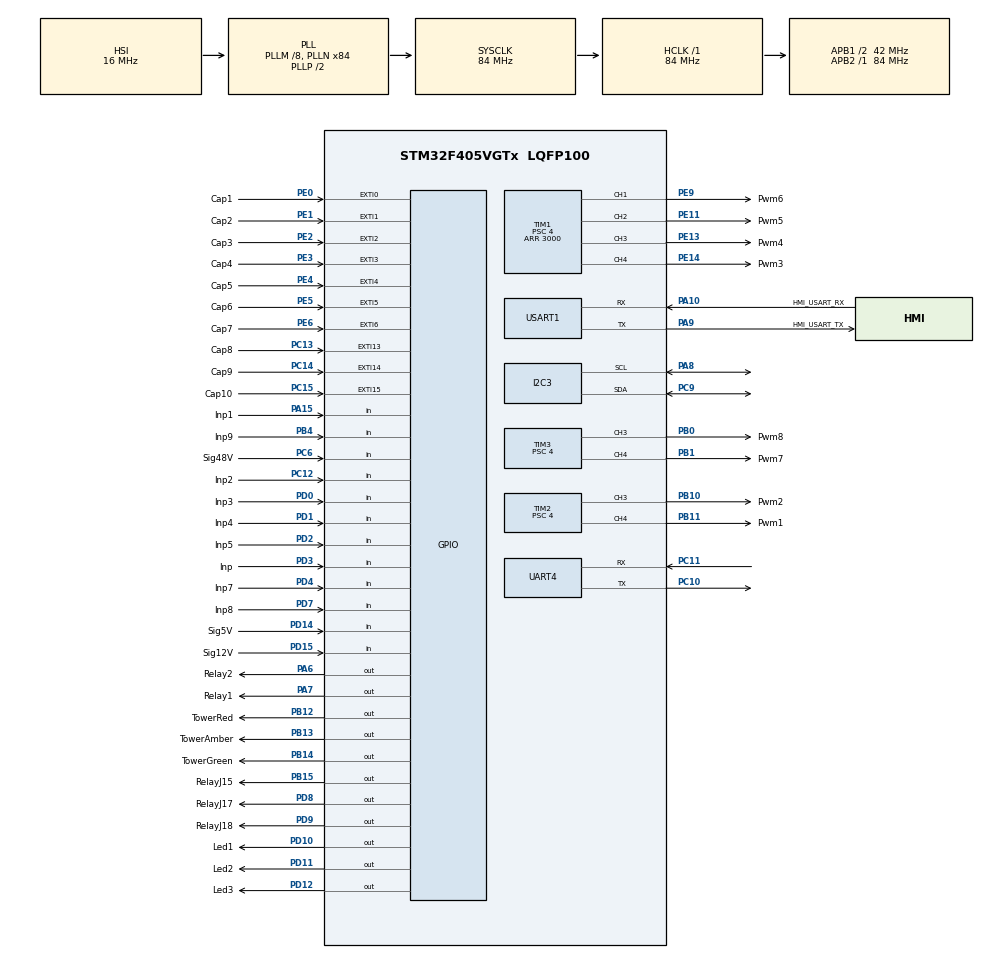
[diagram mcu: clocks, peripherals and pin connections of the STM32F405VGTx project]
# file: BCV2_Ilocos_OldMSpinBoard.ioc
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Mcu.Family=STM32F4
Mcu.Name=STM32F405VGTx
Mcu.Package=LQFP100
NVIC.EXTI0_IRQn=true\:0\:0\:false\:false\:true\:true\:true\:true
NVIC.EXTI15_10_IRQn=true\:0\:0\:false\:false\:true\:true\:true\:true
NVIC.EXTI1_IRQn=true\:0\:0\:false\:false\:true\:true\:true\:true
NVIC.EXTI2_IRQn=true\:0\:0\:false\:false\:true\:true\:true\:true
NVIC.EXTI3_IRQn=true\:0\:0\:false\:false\:true\:true\:true\:true
NVIC.EXTI4_IRQn=true\:0\:0\:false\:false\:true\:true\:true\:true
NVIC.EXTI9_5_IRQn=true\:0\:0\:false\:false\:true\:true\:true\:true
NVIC.PriorityGroup=NVIC_PRIORITYGROUP_4
NVIC.TIM6_DAC_IRQn=true\:0\:0\:false\:false\:true\:true\:true\:true
NVIC.TIM7_IRQn=true\:0\:0\:false\:false\:true\:true\:true\:true
NVIC.UART4_IRQn=true\:0\:0\:false\:false\:true\:true\:true\:true
NVIC.USART1_IRQn=true\:0\:0\:false\:false\:true\:true\:true\:true
PA10.GPIO_Label=HMI_USART_RX
PA10.Mode=Asynchronous
PA10.Signal=USART1_RX
PA15.GPIO_Label=Inp1
PA15.Signal=GPIO_Input
PA6.GPIO_Label=Relay2
PA6.Signal=GPIO_Output
PA7.GPIO_Label=Relay1
PA7.Signal=GPIO_Output
PA8.GPIO_Pu=GPIO_PULLUP
PA8.Mode=I2C
PA8.Signal=I2C3_SCL
PA9.GPIO_Label=HMI_USART_TX
PA9.Mode=Asynchronous
PA9.Signal=USART1_TX
PB0.GPIO_Label=Pwm8
PB0.Signal=S_TIM3_CH3
PB1.GPIO_Label=Pwm7
PB1.Signal=S_TIM3_CH4
PB10.GPIO_Label=Pwm2
PB10.Signal=S_TIM2_CH3
PB11.GPIO_Label=Pwm1
PB11.Signal=S_TIM2_CH4
PB12.GPIO_Label=TowerRed
PB12.Signal=GPIO_Output
PB13.GPIO_Label=TowerAmber
PB13.Signal=GPIO_Output
PB14.GPIO_Label=TowerGreen
PB14.Signal=GPIO_Output
PB15.GPIO_Label=RelayJ15
PB15.Signal=GPIO_Output
PB4.GPIO_Label=Inp9
PB4.Signal=GPIO_Input
PC10.Mode=Asynchronous
PC10.Signal=UART4_TX
PC11.Mode=Asynchronous
PC11.Signal=UART4_RX
PC12.GPIO_Label=Inp2
PC12.GPIO_PuPd=GPIO_PULLUP
PC12.Signal=GPIO_Input
PC13-ANTI_TAMP.GPIO_Label=Cap8
PC13-ANTI_TAMP.GPIO_ModeDefaultEXTI=GPIO_MODE_IT_RISING_FALLING
PC13-ANTI_TAMP.GPIO_PuPd=GPIO_PULLUP
PC13-ANTI_TAMP.Signal=GPXTI13
PC14-OSC32_IN.GPIO_Label=Cap9
PC14-OSC32_IN.GPIO_ModeDefaultEXTI=GPIO_MODE_IT_RISING_FALLING
PC14-OSC32_IN.GPIO_PuPd=GPIO_PULLUP
PC14-OSC32_IN.Signal=GPXTI14
PC15-OSC32_OUT.GPIO_Label=Cap10
PC15-OSC32_OUT.GPIO_ModeDefaultEXTI=GPIO_MODE_IT_RISING_FALLING
PC15-OSC32_OUT.GPIO_PuPd=GPIO_PULLUP
PC15-OSC32_OUT.Signal=GPXTI15
PC6.GPIO_Label=Sig48V
PC6.Signal=GPIO_Input
PC9.GPIO_Pu=GPIO_PULLUP
PC9.Mode=I2C
PC9.Signal=I2C3_SDA
PD0.GPIO_Label=Inp3
PD0.Signal=GPIO_Input
PD1.GPIO_Label=Inp4
PD1.Signal=GPIO_Input
PD10.GPIO_Label=Led1
PD10.Signal=GPIO_Output
PD11.GPIO_Label=Led2
PD11.Signal=GPIO_Output
PD12.GPIO_Label=Led3
PD12.Signal=GPIO_Output
PD14.GPIO_Label=Sig5V
PD14.Signal=GPIO_Input
PD15.GPIO_Label=Sig12V
PD15.Signal=GPIO_Input
PD2.GPIO_Label=Inp5
PD2.Signal=GPIO_Input
PD3.GPIO_Label=Inp
PD3.Signal=GPIO_Input
PD4.GPIO_Label=Inp7
PD4.Signal=GPIO_Input
PD7.GPIO_Label=Inp8
PD7.Signal=GPIO_Input
PD8.GPIO_Label=RelayJ17
PD8.Signal=GPIO_Output
PD9.GPIO_Label=RelayJ18
PD9.Signal=GPIO_Output
PE0.GPIO_Label=Cap1
PE0.GPIO_ModeDefaultEXTI=GPIO_MODE_IT_RISING_FALLING
PE0.GPIO_PuPd=GPIO_PULLUP
PE0.Signal=GPXTI0
PE1.GPIO_Label=Cap2
PE1.GPIO_ModeDefaultEXTI=GPIO_MODE_IT_RISING_FALLING
PE1.GPIO_PuPd=GPIO_PULLUP
PE1.Signal=GPXTI1
PE11.GPIO_Label=Pwm5
PE11.Signal=S_TIM1_CH2
PE13.GPIO_Label=Pwm4
PE13.Signal=S_TIM1_CH3
PE14.GPIO_Label=Pwm3
PE14.Signal=S_TIM1_CH4
PE2.GPIO_Label=Cap3
PE2.GPIO_ModeDefaultEXTI=GPIO_MODE_IT_RISING_FALLING
PE2.GPIO_PuPd=GPIO_PULLUP
PE2.Signal=GPXTI2
PE3.GPIO_Label=Cap4
PE3.GPIO_ModeDefaultEXTI=GPIO_MODE_IT_RISING_FALLING
PE3.GPIO_PuPd=GPIO_PULLUP
PE3.Signal=GPXTI3
PE4.GPIO_Label=Cap5
PE4.GPIO_ModeDefaultEXTI=GPIO_MODE_IT_RISING_FALLING
PE4.GPIO_PuPd=GPIO_PULLUP
PE4.Signal=GPXTI4
PE5.GPIO_Label=Cap6
PE5.GPIO_ModeDefaultEXTI=GPIO_MODE_IT_RISING_FALLING
PE5.GPIO_PuPd=GPIO_PULLUP
PE5.Signal=GPXTI5
PE6.GPIO_Label=Cap7
PE6.GPIO_ModeDefaultEXTI=GPIO_MODE_IT_RISING_FALLING
PE6.GPIO_PuPd=GPIO_PULLUP
PE6.Signal=GPXTI6
PE9.GPIO_Label=Pwm6
PE9.Signal=S_TIM1_CH1
ProjectManager.HeapSize=0x200
ProjectManager.StackSize=0x400
ProjectManager.TargetToolchain=STM32CubeIDE
RCC.48MHZClocksFreq_Value=42000000
RCC.AHBFreq_Value=84000000
RCC.APB1CLKDivider=RCC_HCLK_DIV2
RCC.APB1Freq_Value=42000000
RCC.APB1TimFreq_Value=84000000
RCC.APB2Freq_Value=84000000
RCC.APB2TimFreq_Value=84000000
RCC.CortexFreq_Value=84000000
RCC.HCLKFreq_Value=84000000
RCC.HSE_VALUE=25000000
RCC.HSI_VALUE=16000000
RCC.LSE_VALUE=32768
RCC.PLLM=8
RCC.PLLN=84
RCC.SYSCLKFreq_VALUE=84000000
RCC.SYSCLKSource=RCC_SYSCLKSOURCE_PLLCLK
RCC.VCOOutputFreq_Value=168000000
SH.S_TIM1_CH1.0=TIM1_CH1,PWM Generation1 CH1
SH.S_TIM1_CH2.0=TIM1_CH2,PWM Generation2 CH2
SH.S_TIM1_CH3.0=TIM1_CH3,PWM Generation3 CH3
SH.S_TIM1_CH4.0=TIM1_CH4,PWM Generation4 CH4
SH.S_TIM2_CH3.0=TIM2_CH3,PWM Generation3 CH3
SH.S_TIM2_CH4.0=TIM2_CH4,PWM Generation4 CH4
SH.S_TIM3_CH3.0=TIM3_CH3,PWM Generation3 CH3
SH.S_TIM3_CH4.0=TIM3_CH4,PWM Generation4 CH4
TIM1.Channel-PWM\ Generation1\ CH1=TIM_CHANNEL_1
TIM1.Channel-PWM\ Generation2\ CH2=TIM_CHANNEL_2
TIM1.Channel-PWM\ Generation3\ CH3=TIM_CHANNEL_3
TIM1.Channel-PWM\ Generation4\ CH4=TIM_CHANNEL_4
TIM1.OCPolarity_1=TIM_OCPOLARITY_HIGH
TIM1.OCPolarity_2=TIM_OCPOLARITY_HIGH
TIM1.OCPolarity_3=TIM_OCPOLARITY_HIGH
TIM1.OCPolarity_4=TIM_OCPOLARITY_HIGH
TIM1.Period=3000
TIM1.Prescaler=4
TIM2.Channel-PWM\ Generation3\ CH3=TIM_CHANNEL_3
TIM2.Channel-PWM\ Generation4\ CH4=TIM_CHANNEL_4
TIM2.OCPolarity_3=TIM_OCPOLARITY_HIGH
TIM2.OCPolarity_4=TIM_OCPOLARITY_HIGH
TIM2.Period=3000
TIM2.Prescaler=4
TIM3.Channel-PWM\ Generation3\ CH3=TIM_CHANNEL_3
TIM3.Channel-PWM\ Generation4\ CH4=TIM_CHANNEL_4
TIM3.OCPolarity_3=TIM_OCPOLARITY_HIGH
TIM3.OCPolarity_4=TIM_OCPOLARITY_HIGH
TIM3.Period=3000
TIM3.Prescaler=4
TIM6.Period=839
TIM6.Prescaler=9999
TIM7.Period=8400
TIM7.Prescaler=9999
UART4.VirtualMode=Asynchronous
USART1.VirtualMode=VM_ASYNC
VP_TIM6_VS_ClockSourceINT.Mode=Enable_Timer
VP_TIM7_VS_ClockSourceINT.Mode=Enable_Timer
board=BLOWCARD5-1

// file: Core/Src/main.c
/* USER CODE BEGIN Header */
/**
  ******************************************************************************
  * @file           : main.c
  * @brief          : Main program body
  ******************************************************************************
  * @attention
  *
  * Copyright (c) 2023 STMicroelectronics.
  * All rights reserved.
  *
  * This software is licensed under terms that can be found in the LICENSE file
  * in the root directory of this software component.
  * If no LICENSE file comes with this software, it is provided AS-IS.
  *
  ******************************************************************************
  */
/* USER CODE END Header */
#include "main.h"

/* USER CODE BEGIN Includes */
#include "Structs.h"
#include "Initialize.h"
#include "CommonConstants.h"
#include "HMI_Fns.h"
#include "HMI_Constants.h"
#include "StateFns.h"
#include "logicDefines.h"
#include "encoder.h"
#include "Initialize.h"
#include "functionDefines.h"
#include "eeprom.h"
#include "CommonConstants.h"
/* USER CODE END Includes */

I2C_HandleTypeDef hi2c3;

TIM_HandleTypeDef htim1;
TIM_HandleTypeDef htim2;
TIM_HandleTypeDef htim3;
TIM_HandleTypeDef htim6;
TIM_HandleTypeDef htim7;

UART_HandleTypeDef huart4;
UART_HandleTypeDef huart1;

/* USER CODE BEGIN PV */
/* Private variables ---------------------------------------------------------*/
struct State S;
struct Uart U;
struct CardingSettings csp;
struct Diagnostics D;
// HMI STRUCTS
struct HMI_InfoBase hsb;
struct HMI_RunPacket hrp;
struct HMI_StopPacket hsp;
struct HMI_DiagPacket hdp;
//LOGIC
struct Motor M[9];
struct Error E;

char BufferRec [MAX_PACKET_SIZE_FROM_HMI];//BUFFER  FOR RECEIVE
const char* startBufferRec = BufferRec; // Pointer to start of Buffer Rec
char BufferTransmit[130] ;// Buffer for Transmit

int keyPress = 0;
char MOTORARRAY[8] = {0,CARD_CYLINDER,CARD_BEATER,CARD_CAGE,CARD_COILER,CARD_FEED,CARD_BEATER_FEED,CARD_CONVEYOR};
char MOTORARRAY_HMI[8] = {0,HMI_CARD_CYLINDER,HMI_CARD_BEATER,HMI_CARD_CAGE,HMI_CARD_COILER,HMI_CARD_FEED,HMI_CARD_BEATER_FEED,HMI_CARD_CONVEYOR};

int allMotorsOn = 2; // 2 nothing on, 0 - card and beater on, 1 all motors on
int stopSecondaryMotor = 0;
int pushbuttonPress = 0;

int conveyorCounter = 0;
int delayCounter = 0;
int dwellCounter = 0;
int conveyorStart = 0;
int testPwmValue = 0;
// Overload counter
int overloadCount[9] = {0,0,0,0,0,0,0,0,0};

//logic variables for diag
extern unsigned int idxMotor_diag;
extern long diag_pwm;
extern int testMode;

unsigned int sensorBreakCount = 0;

extern int Cap1,Cap2,Cap3;
extern int Rpm1,Rpm2,Rpm3;
extern int filter1,filter2,filter3;

//production
float totalProduction  = 0.001f;
float totalProduction_dt = 0;
int production = 0;

//length limit
float currentLength  = 0;
float currentLength_corrected = 0;
float deliverySpeed_perSec = 0;
extern int sensorCut;
/* USER CODE END PV */

void SystemClock_Config(void);
static void MX_GPIO_Init(void);
static void MX_TIM1_Init(void);
static void MX_TIM2_Init(void);
static void MX_TIM3_Init(void);
static void MX_TIM6_Init(void);
static void MX_TIM7_Init(void);
static void MX_USART1_UART_Init(void);
static void MX_I2C3_Init(void);
static void MX_UART4_Init(void);

/* USER CODE BEGIN 0 */

void HAL_TIM_PeriodElapsedCallback(TIM_HandleTypeDef *htim)
{
	// A 1 sec TIMER
	if (htim->Instance==TIM7) //check if the interrupt comes from TIM7
	{
		LedToggle(LED3);
		U.TXtransfer = 1;
		S.oneSecTimer += 1;
		if ((S.current_state == RUN_STATE) && (S.runMode == HMI_RUN_NORMAL) && (sensorCut == 0)){
			   currentLength = currentLength + deliverySpeed_perSec;
			   currentLength_corrected = currentLength * csp.lengthCorrection;
		}
		if (lengthOver){
			S.lengthOverTimer += 1;
		}
	}

   if (htim->Instance==TIM6){
		LedToggle(LED1);
		if (testMode == 1){
			Motor(DISABLE_D);
			UpdateRpm();
			if (D.typeofTest == HMI_DIAG_CLOSED_LOOP){
				UpdateMotorPID(idxMotor_diag);
			}
			if (D.typeofTest == HMI_DIAG_OPEN_LOOP){
				UpdateMotorVoltage(idxMotor_diag,diag_pwm);
			}

			ApplyPwms();
		}

		UpdateRpm();

/*		if((allMotorsOn == 0) || (allMotorsOn ==1)){
			UpdateRpm();
//			ApplyPwms();
		}

		if(allMotorsOn == 2) {
			UpdateRpm();
		}*/

		CheckSteadyStateReached(MOTOR1);
		CheckSteadyStateReached(MOTOR2);
		CheckSteadyStateReached(MOTOR3);
		CheckSteadyStateReached(MOTOR4);
		CheckSteadyStateReached(MOTOR5);
		CheckSteadyStateReached(MOTOR6);
		CheckSteadyStateReached(MOTOR7);

		//allmotorOn == 0, only cyl and btr on, if 1 all motors on, if 2, nothing ON
		if (allMotorsOn == 0){
			UpdateMotorPID(MOTOR1);
			UpdateMotorPID(MOTOR2);
			ApplyPwms();
		}

		if (allMotorsOn == 1){
			LedToggle(LED2);
			UpdateMotorPID(MOTOR1);
			UpdateMotorPID(MOTOR2);

			if(S.runMode == HMI_RUN_NORMAL){
				UpdateMotorPID(MOTOR3);
				UpdateMotorPID(MOTOR4);
				UpdateMotorPID(MOTOR5);

				if (S.ductOn == 1){
					UpdateMotorPID(MOTOR6);
					UpdateMotorPID(MOTOR7);
				}
				else{
					KeepFeedMotorsOFF();
				}
			}else if (S.runMode == HMI_RUN_PIECING){
				UpdateMotorPiecing(MOTOR3);
				UpdateMotorPiecing(MOTOR4);
				UpdateMotorPiecing(MOTOR5);
				UpdateMotorPiecing(MOTOR6);
				UpdateMotorPiecing(MOTOR7);
			}else{
				//in rampup dont run anything
			}
			ApplyPwms();
	 }//closes allMotorsOn == 1
   } // closes tim6
}

/* USER CODE END 0 */

int main(void)
{

  /* MCU Configuration--------------------------------------------------------*/

  /* Reset of all peripherals, Initializes the Flash interface and the Systick. */
  HAL_Init();

  /* Configure the system clock */
  SystemClock_Config();

  /* Initialize all configured peripherals */
  MX_GPIO_Init();
  MX_TIM1_Init();
  MX_TIM2_Init();
  MX_TIM3_Init();
  MX_TIM6_Init();
  MX_TIM7_Init();
  MX_USART1_UART_Init();
  MX_I2C3_Init();
  MX_UART4_Init();
  /* USER CODE BEGIN 2 */
	InitializeStateStruct(); // sets state to idle and paired =0
	InitializeCardingSettings();
	ReadSettingsFromEeprom(); //UpdateCardingSettings from EEPROM
	ReadCurrentLengthFromEeprom(); //Length limit from eeprom
	deliverySpeed_perSec = ((float)(csp.deliverySpeed)/60.0);
	currentLength_corrected = currentLength * csp.lengthCorrection; // update the length with whatever correction factor is there

	//Initialize the HMI Structs
	Create_HMI_BasePacket();
	Create_HMI_Run_Packet();
	Create_HMI_StopPacket();
	Create_HMI_DiagPacket();

	//Init the Motor Struct
	MotorStructInit();

	//Interrupts on HMI UART- UART1
	__HAL_UART_ENABLE_IT(&huart1,UART_IT_IDLE);//interrupt on receive buffer not empty(buffer full)
	__HAL_UART_ENABLE_IT(&huart1,UART_IT_TC );//interrupt on Transmission Complete

	HAL_UART_Receive_IT(&huart1,(uint8_t *)BufferRec,MAX_PACKET_SIZE_FROM_HMI);	 // start the receive here.

	//Interrupts on RPI UART-UART4
	__HAL_UART_ENABLE_IT(&huart4,UART_IT_TC );//interrupt on Transmission Complete for RPI uart

	HAL_TIM_Base_Start_IT(&htim6); // MAIN TIMER FOR MOTOR CONTROL PWM - 100ms. Need to switch this on or we cant check if cyl/btr running in idle mode.
	// Switch on all the timers for the PWM , and set them low immediately
	AllTimerOn();
	//AllSignalVoltageLow();

	//Switch off all tower lamps
	TowerLamp(GREEN_ON);
	TowerLamp(RED_ON);
	TowerLamp(AMBER_OFF);
	HAL_TIM_Base_Start_IT(&htim7);

  /* USER CODE END 2 */

  /* Infinite loop */
  /* USER CODE BEGIN WHILE */
  while (1){
	if (S.current_state == IDLE_STATE){
		IdleState();
	}

	if (S.current_state == RUN_STATE){
		RunState();
	}

	if (S.current_state == HALT_STATE){
		HaltState();
	}

	if (S.current_state == PAUSE_STATE){
		PauseState();
	}

	if (S.current_state == UPDATESETTINGS){
		SettingsState();
	}

	if (S.current_state == DIAGNOSTIC_STATE){
		DiagnosticsState();
	}

    /* USER CODE END WHILE */

  }
}

void SystemClock_Config(void)
{
  RCC_OscInitTypeDef RCC_OscInitStruct = {0};
  RCC_ClkInitTypeDef RCC_ClkInitStruct = {0};

  /** Configure the main internal regulator output voltage
  */
  __HAL_RCC_PWR_CLK_ENABLE();
  __HAL_PWR_VOLTAGESCALING_CONFIG(PWR_REGULATOR_VOLTAGE_SCALE1);

  /** Initializes the RCC Oscillators according to the specified parameters
  * in the RCC_OscInitTypeDef structure.
  */
  RCC_OscInitStruct.OscillatorType = RCC_OSCILLATORTYPE_HSI;
  RCC_OscInitStruct.HSIState = RCC_HSI_ON;
  RCC_OscInitStruct.HSICalibrationValue = RCC_HSICALIBRATION_DEFAULT;
  RCC_OscInitStruct.PLL.PLLState = RCC_PLL_ON;
  RCC_OscInitStruct.PLL.PLLSource = RCC_PLLSOURCE_HSI;
  RCC_OscInitStruct.PLL.PLLM = 8;
  RCC_OscInitStruct.PLL.PLLN = 84;
  RCC_OscInitStruct.PLL.PLLP = RCC_PLLP_DIV2;
  RCC_OscInitStruct.PLL.PLLQ = 4;
  if (HAL_RCC_OscConfig(&RCC_OscInitStruct) != HAL_OK)
  {
    Error_Handler();
  }

  /** Initializes the CPU, AHB and APB buses clocks
  */
  RCC_ClkInitStruct.ClockType = RCC_CLOCKTYPE_HCLK|RCC_CLOCKTYPE_SYSCLK
                              |RCC_CLOCKTYPE_PCLK1|RCC_CLOCKTYPE_PCLK2;
  RCC_ClkInitStruct.SYSCLKSource = RCC_SYSCLKSOURCE_PLLCLK;
  RCC_ClkInitStruct.AHBCLKDivider = RCC_SYSCLK_DIV1;
  RCC_ClkInitStruct.APB1CLKDivider = RCC_HCLK_DIV2;
  RCC_ClkInitStruct.APB2CLKDivider = RCC_HCLK_DIV1;

  if (HAL_RCC_ClockConfig(&RCC_ClkInitStruct, FLASH_LATENCY_2) != HAL_OK)
  {
    Error_Handler();
  }
}

static void MX_I2C3_Init(void)
{

  hi2c3.Instance = I2C3;
  hi2c3.Init.ClockSpeed = 100000;
  hi2c3.Init.DutyCycle = I2C_DUTYCYCLE_2;
  hi2c3.Init.OwnAddress1 = 0;
  hi2c3.Init.AddressingMode = I2C_ADDRESSINGMODE_7BIT;
  hi2c3.Init.DualAddressMode = I2C_DUALADDRESS_DISABLE;
  hi2c3.Init.OwnAddress2 = 0;
  hi2c3.Init.GeneralCallMode = I2C_GENERALCALL_DISABLE;
  hi2c3.Init.NoStretchMode = I2C_NOSTRETCH_DISABLE;
  if (HAL_I2C_Init(&hi2c3) != HAL_OK)
  {
    Error_Handler();
  }

}

static void MX_TIM1_Init(void)
{

  TIM_MasterConfigTypeDef sMasterConfig = {0};
  TIM_OC_InitTypeDef sConfigOC = {0};
  TIM_BreakDeadTimeConfigTypeDef sBreakDeadTimeConfig = {0};

  htim1.Instance = TIM1;
  htim1.Init.Prescaler = 4;
  htim1.Init.CounterMode = TIM_COUNTERMODE_UP;
  htim1.Init.Period = 3000;
  htim1.Init.ClockDivision = TIM_CLOCKDIVISION_DIV1;
  htim1.Init.RepetitionCounter = 0;
  htim1.Init.AutoReloadPreload = TIM_AUTORELOAD_PRELOAD_DISABLE;
  if (HAL_TIM_PWM_Init(&htim1) != HAL_OK)
  {
    Error_Handler();
  }
  sMasterConfig.MasterOutputTrigger = TIM_TRGO_RESET;
  sMasterConfig.MasterSlaveMode = TIM_MASTERSLAVEMODE_DISABLE;
  if (HAL_TIMEx_MasterConfigSynchronization(&htim1, &sMasterConfig) != HAL_OK)
  {
    Error_Handler();
  }
  sConfigOC.OCMode = TIM_OCMODE_PWM1;
  sConfigOC.Pulse = 0;
  sConfigOC.OCPolarity = TIM_OCPOLARITY_HIGH;
  sConfigOC.OCNPolarity = TIM_OCNPOLARITY_HIGH;
  sConfigOC.OCFastMode = TIM_OCFAST_DISABLE;
  sConfigOC.OCIdleState = TIM_OCIDLESTATE_RESET;
  sConfigOC.OCNIdleState = TIM_OCNIDLESTATE_RESET;
  if (HAL_TIM_PWM_ConfigChannel(&htim1, &sConfigOC, TIM_CHANNEL_1) != HAL_OK)
  {
    Error_Handler();
  }
  if (HAL_TIM_PWM_ConfigChannel(&htim1, &sConfigOC, TIM_CHANNEL_2) != HAL_OK)
  {
    Error_Handler();
  }
  if (HAL_TIM_PWM_ConfigChannel(&htim1, &sConfigOC, TIM_CHANNEL_3) != HAL_OK)
  {
    Error_Handler();
  }
  if (HAL_TIM_PWM_ConfigChannel(&htim1, &sConfigOC, TIM_CHANNEL_4) != HAL_OK)
  {
    Error_Handler();
  }
  sBreakDeadTimeConfig.OffStateRunMode = TIM_OSSR_DISABLE;
  sBreakDeadTimeConfig.OffStateIDLEMode = TIM_OSSI_DISABLE;
  sBreakDeadTimeConfig.LockLevel = TIM_LOCKLEVEL_OFF;
  sBreakDeadTimeConfig.DeadTime = 0;
  sBreakDeadTimeConfig.BreakState = TIM_BREAK_DISABLE;
  sBreakDeadTimeConfig.BreakPolarity = TIM_BREAKPOLARITY_HIGH;
  sBreakDeadTimeConfig.AutomaticOutput = TIM_AUTOMATICOUTPUT_DISABLE;
  if (HAL_TIMEx_ConfigBreakDeadTime(&htim1, &sBreakDeadTimeConfig) != HAL_OK)
  {
    Error_Handler();
  }
  HAL_TIM_MspPostInit(&htim1);

}

static void MX_TIM2_Init(void)
{

  TIM_MasterConfigTypeDef sMasterConfig = {0};
  TIM_OC_InitTypeDef sConfigOC = {0};

  htim2.Instance = TIM2;
  htim2.Init.Prescaler = 4;
  htim2.Init.CounterMode = TIM_COUNTERMODE_UP;
  htim2.Init.Period = 3000;
  htim2.Init.ClockDivision = TIM_CLOCKDIVISION_DIV1;
  htim2.Init.AutoReloadPreload = TIM_AUTORELOAD_PRELOAD_DISABLE;
  if (HAL_TIM_PWM_Init(&htim2) != HAL_OK)
  {
    Error_Handler();
  }
  sMasterConfig.MasterOutputTrigger = TIM_TRGO_RESET;
  sMasterConfig.MasterSlaveMode = TIM_MASTERSLAVEMODE_DISABLE;
  if (HAL_TIMEx_MasterConfigSynchronization(&htim2, &sMasterConfig) != HAL_OK)
  {
    Error_Handler();
  }
  sConfigOC.OCMode = TIM_OCMODE_PWM1;
  sConfigOC.Pulse = 0;
  sConfigOC.OCPolarity = TIM_OCPOLARITY_HIGH;
  sConfigOC.OCFastMode = TIM_OCFAST_DISABLE;
  if (HAL_TIM_PWM_ConfigChannel(&htim2, &sConfigOC, TIM_CHANNEL_3) != HAL_OK)
  {
    Error_Handler();
  }
  if (HAL_TIM_PWM_ConfigChannel(&htim2, &sConfigOC, TIM_CHANNEL_4) != HAL_OK)
  {
    Error_Handler();
  }
  HAL_TIM_MspPostInit(&htim2);

}

static void MX_TIM3_Init(void)
{

  TIM_MasterConfigTypeDef sMasterConfig = {0};
  TIM_OC_InitTypeDef sConfigOC = {0};

  htim3.Instance = TIM3;
  htim3.Init.Prescaler = 4;
  htim3.Init.CounterMode = TIM_COUNTERMODE_UP;
  htim3.Init.Period = 3000;
  htim3.Init.ClockDivision = TIM_CLOCKDIVISION_DIV1;
  htim3.Init.AutoReloadPreload = TIM_AUTORELOAD_PRELOAD_DISABLE;
  if (HAL_TIM_PWM_Init(&htim3) != HAL_OK)
  {
    Error_Handler();
  }
  sMasterConfig.MasterOutputTrigger = TIM_TRGO_RESET;
  sMasterConfig.MasterSlaveMode = TIM_MASTERSLAVEMODE_DISABLE;
  if (HAL_TIMEx_MasterConfigSynchronization(&htim3, &sMasterConfig) != HAL_OK)
  {
    Error_Handler();
  }
  sConfigOC.OCMode = TIM_OCMODE_PWM1;
  sConfigOC.Pulse = 0;
  sConfigOC.OCPolarity = TIM_OCPOLARITY_HIGH;
  sConfigOC.OCFastMode = TIM_OCFAST_DISABLE;
  if (HAL_TIM_PWM_ConfigChannel(&htim3, &sConfigOC, TIM_CHANNEL_3) != HAL_OK)
  {
    Error_Handler();
  }
  if (HAL_TIM_PWM_ConfigChannel(&htim3, &sConfigOC, TIM_CHANNEL_4) != HAL_OK)
  {
    Error_Handler();
  }
  HAL_TIM_MspPostInit(&htim3);

}

static void MX_TIM6_Init(void)
{

  TIM_MasterConfigTypeDef sMasterConfig = {0};

  htim6.Instance = TIM6;
  htim6.Init.Prescaler = 9999;
  htim6.Init.CounterMode = TIM_COUNTERMODE_UP;
  htim6.Init.Period = 839;
  htim6.Init.AutoReloadPreload = TIM_AUTORELOAD_PRELOAD_DISABLE;
  if (HAL_TIM_Base_Init(&htim6) != HAL_OK)
  {
    Error_Handler();
  }
  sMasterConfig.MasterOutputTrigger = TIM_TRGO_RESET;
  sMasterConfig.MasterSlaveMode = TIM_MASTERSLAVEMODE_DISABLE;
  if (HAL_TIMEx_MasterConfigSynchronization(&htim6, &sMasterConfig) != HAL_OK)
  {
    Error_Handler();
  }

}

static void MX_TIM7_Init(void)
{

  TIM_MasterConfigTypeDef sMasterConfig = {0};

  htim7.Instance = TIM7;
  htim7.Init.Prescaler = 9999;
  htim7.Init.CounterMode = TIM_COUNTERMODE_UP;
  htim7.Init.Period = 8400;
  htim7.Init.AutoReloadPreload = TIM_AUTORELOAD_PRELOAD_DISABLE;
  if (HAL_TIM_Base_Init(&htim7) != HAL_OK)
  {
    Error_Handler();
  }
  sMasterConfig.MasterOutputTrigger = TIM_TRGO_RESET;
  sMasterConfig.MasterSlaveMode = TIM_MASTERSLAVEMODE_DISABLE;
  if (HAL_TIMEx_MasterConfigSynchronization(&htim7, &sMasterConfig) != HAL_OK)
  {
    Error_Handler();
  }

}

static void MX_UART4_Init(void)
{

  huart4.Instance = UART4;
  huart4.Init.BaudRate = 115200;
  huart4.Init.WordLength = UART_WORDLENGTH_8B;
  huart4.Init.StopBits = UART_STOPBITS_1;
  huart4.Init.Parity = UART_PARITY_NONE;
  huart4.Init.Mode = UART_MODE_TX_RX;
  huart4.Init.HwFlowCtl = UART_HWCONTROL_NONE;
  huart4.Init.OverSampling = UART_OVERSAMPLING_16;
  if (HAL_UART_Init(&huart4) != HAL_OK)
  {
    Error_Handler();
  }

}

static void MX_USART1_UART_Init(void)
{

  huart1.Instance = USART1;
  huart1.Init.BaudRate = 115200;
  huart1.Init.WordLength = UART_WORDLENGTH_8B;
  huart1.Init.StopBits = UART_STOPBITS_1;
  huart1.Init.Parity = UART_PARITY_NONE;
  huart1.Init.Mode = UART_MODE_TX_RX;
  huart1.Init.HwFlowCtl = UART_HWCONTROL_NONE;
  huart1.Init.OverSampling = UART_OVERSAMPLING_16;
  if (HAL_UART_Init(&huart1) != HAL_OK)
  {
    Error_Handler();
  }

}

static void MX_GPIO_Init(void)
{
  GPIO_InitTypeDef GPIO_InitStruct = {0};

  /* GPIO Ports Clock Enable */
  __HAL_RCC_GPIOE_CLK_ENABLE();
  __HAL_RCC_GPIOC_CLK_ENABLE();
  __HAL_RCC_GPIOA_CLK_ENABLE();
  __HAL_RCC_GPIOB_CLK_ENABLE();
  __HAL_RCC_GPIOD_CLK_ENABLE();

  /*Configure GPIO pin Output Level */
  HAL_GPIO_WritePin(GPIOA, Relay2_Pin|Relay1_Pin, GPIO_PIN_RESET);

  /*Configure GPIO pin Output Level */
  HAL_GPIO_WritePin(GPIOB, TowerRed_Pin|TowerAmber_Pin|TowerGreen_Pin|RelayJ15_Pin, GPIO_PIN_RESET);

  /*Configure GPIO pin Output Level */
  HAL_GPIO_WritePin(GPIOD, RelayJ17_Pin|RelayJ18_Pin|Led1_Pin|Led2_Pin
                          |Led3_Pin, GPIO_PIN_RESET);

  /*Configure GPIO pins : Cap3_Pin Cap4_Pin Cap5_Pin Cap6_Pin
                           Cap7_Pin Cap1_Pin Cap2_Pin */
  GPIO_InitStruct.Pin = Cap3_Pin|Cap4_Pin|Cap5_Pin|Cap6_Pin
                          |Cap7_Pin|Cap1_Pin|Cap2_Pin;
  GPIO_InitStruct.Mode = GPIO_MODE_IT_RISING_FALLING;
  GPIO_InitStruct.Pull = GPIO_PULLUP;
  HAL_GPIO_Init(GPIOE, &GPIO_InitStruct);

  /*Configure GPIO pins : Cap8_Pin Cap9_Pin Cap10_Pin */
  GPIO_InitStruct.Pin = Cap8_Pin|Cap9_Pin|Cap10_Pin;
  GPIO_InitStruct.Mode = GPIO_MODE_IT_RISING_FALLING;
  GPIO_InitStruct.Pull = GPIO_PULLUP;
  HAL_GPIO_Init(GPIOC, &GPIO_InitStruct);

  /*Configure GPIO pins : Relay2_Pin Relay1_Pin */
  GPIO_InitStruct.Pin = Relay2_Pin|Relay1_Pin;
  GPIO_InitStruct.Mode = GPIO_MODE_OUTPUT_PP;
  GPIO_InitStruct.Pull = GPIO_NOPULL;
  GPIO_InitStruct.Speed = GPIO_SPEED_FREQ_LOW;
  HAL_GPIO_Init(GPIOA, &GPIO_InitStruct);

  /*Configure GPIO pins : TowerRed_Pin TowerAmber_Pin TowerGreen_Pin RelayJ15_Pin */
  GPIO_InitStruct.Pin = TowerRed_Pin|TowerAmber_Pin|TowerGreen_Pin|RelayJ15_Pin;
  GPIO_InitStruct.Mode = GPIO_MODE_OUTPUT_PP;
  GPIO_InitStruct.Pull = GPIO_NOPULL;
  GPIO_InitStruct.Speed = GPIO_SPEED_FREQ_LOW;
  HAL_GPIO_Init(GPIOB, &GPIO_InitStruct);

  /*Configure GPIO pins : RelayJ17_Pin RelayJ18_Pin Led1_Pin Led2_Pin
                           Led3_Pin */
  GPIO_InitStruct.Pin = RelayJ17_Pin|RelayJ18_Pin|Led1_Pin|Led2_Pin
                          |Led3_Pin;
  GPIO_InitStruct.Mode = GPIO_MODE_OUTPUT_PP;
  GPIO_InitStruct.Pull = GPIO_NOPULL;
  GPIO_InitStruct.Speed = GPIO_SPEED_FREQ_LOW;
  HAL_GPIO_Init(GPIOD, &GPIO_InitStruct);

  /*Configure GPIO pins : Sig5V_Pin Sig12V_Pin Inp3_Pin Inp4_Pin
                           Inp5_Pin Inp_Pin Inp7_Pin Inp8_Pin */
  GPIO_InitStruct.Pin = Sig5V_Pin|Sig12V_Pin|Inp3_Pin|Inp4_Pin
                          |Inp5_Pin|Inp_Pin|Inp7_Pin|Inp8_Pin;
  GPIO_InitStruct.Mode = GPIO_MODE_INPUT;
  GPIO_InitStruct.Pull = GPIO_NOPULL;
  HAL_GPIO_Init(GPIOD, &GPIO_InitStruct);

  /*Configure GPIO pin : Sig48V_Pin */
  GPIO_InitStruct.Pin = Sig48V_Pin;
  GPIO_InitStruct.Mode = GPIO_MODE_INPUT;
  GPIO_InitStruct.Pull = GPIO_NOPULL;
  HAL_GPIO_Init(Sig48V_GPIO_Port, &GPIO_InitStruct);

  /*Configure GPIO pin : Inp1_Pin */
  GPIO_InitStruct.Pin = Inp1_Pin;
  GPIO_InitStruct.Mode = GPIO_MODE_INPUT;
  GPIO_InitStruct.Pull = GPIO_NOPULL;
  HAL_GPIO_Init(Inp1_GPIO_Port, &GPIO_InitStruct);

  /*Configure GPIO pin : Inp2_Pin */
  GPIO_InitStruct.Pin = Inp2_Pin;
  GPIO_InitStruct.Mode = GPIO_MODE_INPUT;
  GPIO_InitStruct.Pull = GPIO_PULLUP;
  HAL_GPIO_Init(Inp2_GPIO_Port, &GPIO_InitStruct);

  /*Configure GPIO pin : Inp9_Pin */
  GPIO_InitStruct.Pin = Inp9_Pin;
  GPIO_InitStruct.Mode = GPIO_MODE_INPUT;
  GPIO_InitStruct.Pull = GPIO_NOPULL;
  HAL_GPIO_Init(Inp9_GPIO_Port, &GPIO_InitStruct);

  /* EXTI interrupt init*/
  HAL_NVIC_SetPriority(EXTI0_IRQn, 0, 0);
  HAL_NVIC_EnableIRQ(EXTI0_IRQn);

  HAL_NVIC_SetPriority(EXTI1_IRQn, 0, 0);
  HAL_NVIC_EnableIRQ(EXTI1_IRQn);

  HAL_NVIC_SetPriority(EXTI2_IRQn, 0, 0);
  HAL_NVIC_EnableIRQ(EXTI2_IRQn);

  HAL_NVIC_SetPriority(EXTI3_IRQn, 0, 0);
  HAL_NVIC_EnableIRQ(EXTI3_IRQn);

  HAL_NVIC_SetPriority(EXTI4_IRQn, 0, 0);
  HAL_NVIC_EnableIRQ(EXTI4_IRQn);

  HAL_NVIC_SetPriority(EXTI9_5_IRQn, 0, 0);
  HAL_NVIC_EnableIRQ(EXTI9_5_IRQn);

  HAL_NVIC_SetPriority(EXTI15_10_IRQn, 0, 0);
  HAL_NVIC_EnableIRQ(EXTI15_10_IRQn);

}

void Error_Handler(void)
{
  __disable_irq();
  while (1)
  {
  }
}
